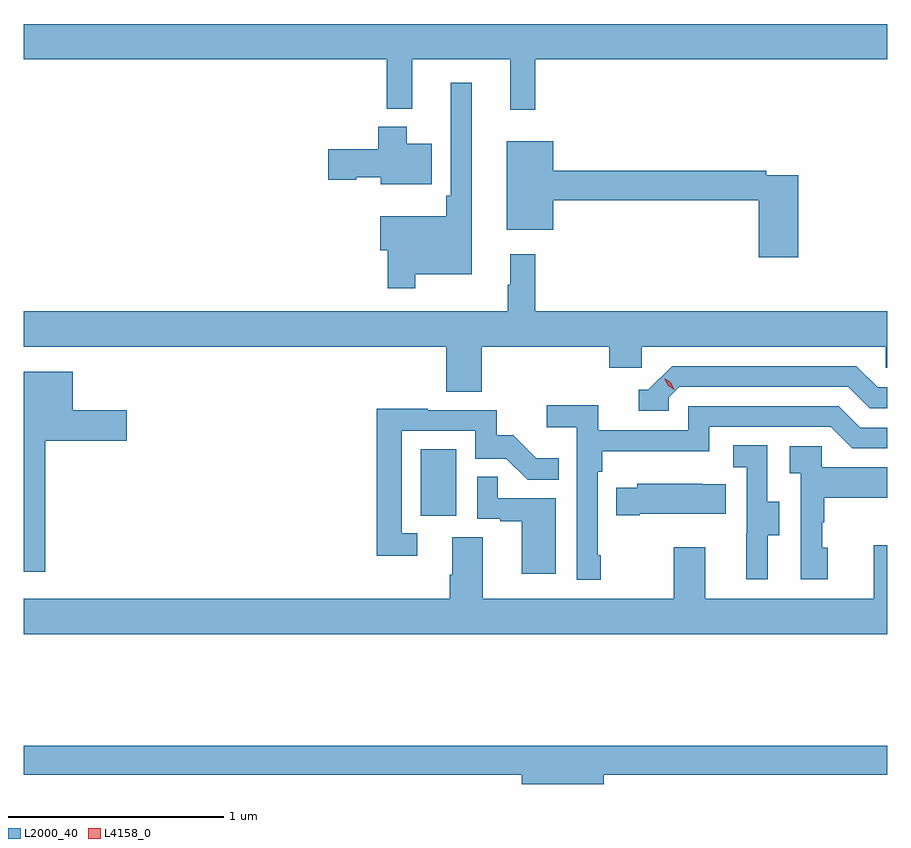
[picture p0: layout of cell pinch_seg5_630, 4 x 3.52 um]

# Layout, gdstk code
import gdstk
lib = gdstk.Library(unit=1e-6, precision=1e-09)
def R(c, l, rs):  # rectangles x0, y0, x1, y1
    for r in rs: c.add(gdstk.rectangle(r[:2], r[2:], *l))
def P(c, l, *ps):  # polygons
    for p in ps: c.add(gdstk.Polygon(p, *l))
L2000_40 = (2000, 40)
L4158_0 = (4158, 0)

pinch_seg5_630 = lib.new_cell('pinch_seg5_630')
R(pinch_seg5_630, L2000_40, [(1071.524,854.646,1071.688,854.953)])
P(pinch_seg5_630, L2000_40, [(1072.055,856.76),(1073.685,856.76),(1073.685,856.924),(1069.685,856.924),(1069.685,856.76),(1071.367,856.76),(1071.367,856.532),(1071.485,856.532),(1071.485,856.76),(1071.938,856.76),(1071.938,856.527),(1072.055,856.527)],
  [(1071.499,855.764),(1071.76,855.764),(1071.76,856.651),(1071.663,856.651),(1071.663,856.129),(1071.643,856.129),(1071.643,856.033),(1071.336,856.033),(1071.336,855.875),(1071.37,855.875),(1071.37,855.699),(1071.499,855.699)],
  [(1071.574,856.369),(1071.46,856.369),(1071.46,856.447),(1071.326,856.447),(1071.326,856.344),(1071.096,856.344),(1071.096,856.202),(1071.225,856.202),(1071.225,856.214),(1071.338,856.214),(1071.338,856.181),(1071.574,856.181)],
  [(1073.273,856.224),(1073.126,856.224),(1073.126,856.244),(1072.138,856.244),(1072.138,856.381),(1071.923,856.381),(1071.923,855.971),(1072.138,855.971),(1072.138,856.108),(1073.09,856.108),(1073.09,855.843),(1073.273,855.843)],
  [(1071.806,855.428),(1072.397,855.428),(1072.397,855.33),(1072.548,855.33),(1072.548,855.428),(1073.679,855.428),(1073.679,855.33),(1073.685,855.33),(1073.685,855.592),(1072.055,855.592),(1072.055,855.856),(1071.938,855.856),(1071.938,855.716),(1071.927,855.716),(1071.927,855.592),(1069.685,855.592),(1069.685,855.428),(1071.641,855.428),(1071.641,855.22),(1071.806,855.22)],
  [(1072.674,855.195),(1072.722,855.243),(1073.505,855.243),(1073.604,855.144),(1073.685,855.144),(1073.685,855.24),(1073.641,855.24),(1073.542,855.339),(1072.689,855.339),(1072.578,855.228),(1072.535,855.228),(1072.535,855.132),(1072.674,855.132)],
  [(1069.783,854.993),(1070.161,854.993),(1070.161,855.135),(1069.912,855.135),(1069.912,855.313),(1069.685,855.313),(1069.685,854.385),(1069.783,854.385)],
  [(1072.357,854.461),(1072.344,854.461),(1072.344,854.849),(1072.364,854.849),(1072.364,854.945),(1072.86,854.945),(1072.86,855.057),(1073.424,855.057),(1073.523,854.958),(1073.685,854.958),(1073.685,855.054),(1073.56,855.054),(1073.461,855.153),(1072.764,855.153),(1072.764,855.042),(1072.346,855.042),(1072.346,855.158),(1072.107,855.158),(1072.107,855.056),(1072.248,855.056),(1072.248,854.349),(1072.357,854.349)],
  [(1071.508,854.565),(1071.435,854.565),(1071.435,855.039),(1071.777,855.039),(1071.777,854.91),(1071.921,854.91),(1072.019,854.812),(1072.163,854.812),(1072.163,854.911),(1072.059,854.911),(1071.952,855.018),(1071.876,855.018),(1071.876,855.135),(1071.557,855.135),(1071.557,855.14),(1071.319,855.14),(1071.319,854.46),(1071.508,854.46)],
  [(1073.131,854.554),(1073.185,854.554),(1073.185,854.709),(1073.13,854.709),(1073.13,854.972),(1072.971,854.972),(1072.971,854.869),(1073.034,854.869),(1073.034,854.565),(1073.033,854.565),(1073.033,854.352),(1073.131,854.352)],
  [(1073.41,854.496),(1073.385,854.496),(1073.385,854.615),(1073.395,854.615),(1073.395,854.729),(1073.685,854.729),(1073.685,854.869),(1073.382,854.869),(1073.382,854.967),(1073.235,854.967),(1073.235,854.843),(1073.286,854.843),(1073.286,854.352),(1073.41,854.352)],
  [(1072.15,854.727),(1071.881,854.727),(1071.881,854.825),(1071.786,854.825),(1071.786,854.631),(1071.893,854.631),(1071.893,854.619),(1071.992,854.619),(1071.992,854.376),(1072.15,854.376)],
  [(1072.54,854.654),(1072.937,854.654),(1072.937,854.791),(1072.829,854.791),(1072.829,854.794),(1072.527,854.794),(1072.527,854.776),(1072.429,854.776),(1072.429,854.647),(1072.54,854.647)],
  [(1072.696,854.5),(1072.696,854.26),(1071.811,854.26),(1071.811,854.546),(1071.671,854.546),(1071.671,854.372),(1071.659,854.372),(1071.659,854.26),(1069.685,854.26),(1069.685,854.096),(1073.685,854.096),(1073.685,854.509),(1073.624,854.509),(1073.624,854.26),(1072.843,854.26),(1072.843,854.5)],
  [(1072.372,853.444),(1073.685,853.444),(1073.685,853.58),(1069.685,853.58),(1069.685,853.444),(1071.992,853.444),(1071.992,853.402),(1072.372,853.402)])
P(pinch_seg5_630, L4158_0, [(1072.699,855.23),(1072.668,855.249),(1072.652,855.282),(1072.652,855.282),(1072.653,855.282),(1072.683,855.263),(1072.699,855.23),(1072.699,855.23)])

lib.write_gds('pinch_seg5_630.gds')
